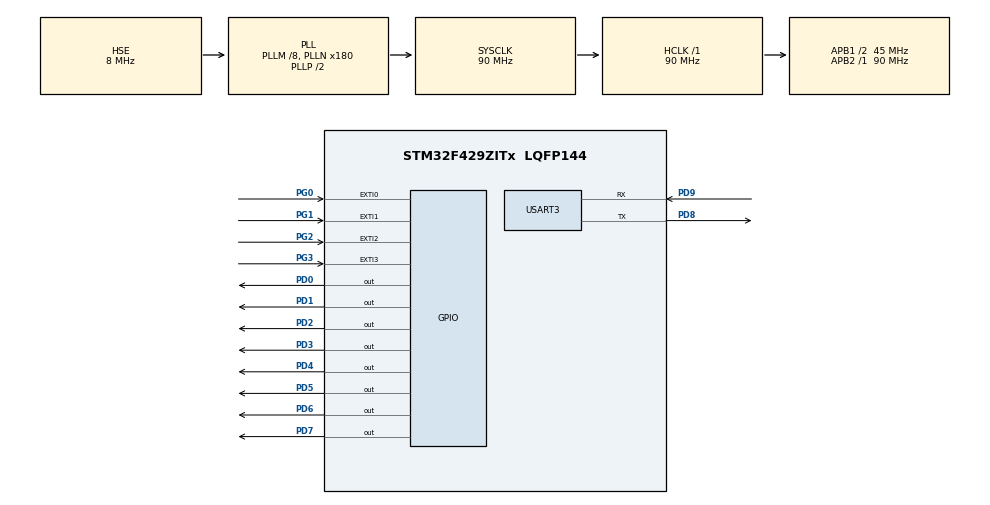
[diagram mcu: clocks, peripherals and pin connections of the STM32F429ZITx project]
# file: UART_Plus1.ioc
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Mcu.Family=STM32F4
Mcu.Name=STM32F429ZITx
Mcu.Package=LQFP144
NVIC.EXTI0_IRQn=true\:0\:0\:false\:false\:true\:true\:true\:true
NVIC.EXTI1_IRQn=true\:0\:0\:false\:false\:true\:true\:true\:true
NVIC.EXTI2_IRQn=true\:0\:0\:false\:false\:true\:true\:true\:true
NVIC.EXTI3_IRQn=true\:0\:0\:false\:false\:true\:true\:true\:true
NVIC.PriorityGroup=NVIC_PRIORITYGROUP_4
NVIC.USART3_IRQn=true\:0\:0\:false\:false\:true\:true\:true\:true
PD0.GPIO_ModeDefaultOutputPP=GPIO_MODE_OUTPUT_PP
PD0.GPIO_PuPd=GPIO_PULLUP
PD0.GPIO_Speed=GPIO_SPEED_FREQ_HIGH
PD0.PinState=GPIO_PIN_RESET
PD0.Signal=GPIO_Output
PD1.GPIO_ModeDefaultOutputPP=GPIO_MODE_OUTPUT_PP
PD1.GPIO_PuPd=GPIO_PULLUP
PD1.GPIO_Speed=GPIO_SPEED_FREQ_HIGH
PD1.PinState=GPIO_PIN_RESET
PD1.Signal=GPIO_Output
PD2.GPIO_ModeDefaultOutputPP=GPIO_MODE_OUTPUT_PP
PD2.GPIO_PuPd=GPIO_PULLUP
PD2.GPIO_Speed=GPIO_SPEED_FREQ_HIGH
PD2.PinState=GPIO_PIN_RESET
PD2.Signal=GPIO_Output
PD3.GPIO_ModeDefaultOutputPP=GPIO_MODE_OUTPUT_PP
PD3.GPIO_PuPd=GPIO_PULLUP
PD3.GPIO_Speed=GPIO_SPEED_FREQ_HIGH
PD3.PinState=GPIO_PIN_RESET
PD3.Signal=GPIO_Output
PD4.GPIO_ModeDefaultOutputPP=GPIO_MODE_OUTPUT_PP
PD4.GPIO_PuPd=GPIO_PULLUP
PD4.GPIO_Speed=GPIO_SPEED_FREQ_HIGH
PD4.PinState=GPIO_PIN_RESET
PD4.Signal=GPIO_Output
PD5.GPIO_ModeDefaultOutputPP=GPIO_MODE_OUTPUT_PP
PD5.GPIO_PuPd=GPIO_PULLUP
PD5.GPIO_Speed=GPIO_SPEED_FREQ_HIGH
PD5.PinState=GPIO_PIN_RESET
PD5.Signal=GPIO_Output
PD6.GPIO_ModeDefaultOutputPP=GPIO_MODE_OUTPUT_PP
PD6.GPIO_PuPd=GPIO_PULLUP
PD6.GPIO_Speed=GPIO_SPEED_FREQ_HIGH
PD6.PinState=GPIO_PIN_RESET
PD6.Signal=GPIO_Output
PD7.GPIO_ModeDefaultOutputPP=GPIO_MODE_OUTPUT_PP
PD7.GPIO_PuPd=GPIO_PULLUP
PD7.GPIO_Speed=GPIO_SPEED_FREQ_HIGH
PD7.PinState=GPIO_PIN_RESET
PD7.Signal=GPIO_Output
PD8.Mode=Asynchronous
PD8.Signal=USART3_TX
PD9.Mode=Asynchronous
PD9.Signal=USART3_RX
PG0.GPIO_ModeDefaultEXTI=GPIO_MODE_IT_FALLING
PG0.GPIO_PuPd=GPIO_NOPULL
PG0.Signal=GPXTI0
PG1.GPIO_ModeDefaultEXTI=GPIO_MODE_IT_FALLING
PG1.GPIO_PuPd=GPIO_NOPULL
PG1.Signal=GPXTI1
PG2.GPIO_ModeDefaultEXTI=GPIO_MODE_IT_FALLING
PG2.GPIO_PuPd=GPIO_NOPULL
PG2.Signal=GPXTI2
PG3.GPIO_ModeDefaultEXTI=GPIO_MODE_IT_FALLING
PG3.GPIO_PuPd=GPIO_NOPULL
PG3.Signal=GPXTI3
PH0/OSC_IN.Mode=HSE-External-Clock-Source
PH0/OSC_IN.Signal=RCC_OSC_IN
PH1/OSC_OUT.Mode=HSE-External-Clock-Source
PH1/OSC_OUT.Signal=RCC_OSC_OUT
ProjectManager.HeapSize=0x200
ProjectManager.StackSize=0x400
ProjectManager.TargetToolchain=STM32CubeIDE
RCC.48MHZClocksFreq_Value=45000000
RCC.AHBFreq_Value=90000000
RCC.APB1CLKDivider=RCC_HCLK_DIV2
RCC.APB1Freq_Value=45000000
RCC.APB1TimFreq_Value=90000000
RCC.APB2Freq_Value=90000000
RCC.APB2TimFreq_Value=90000000
RCC.CortexFreq_Value=90000000
RCC.HCLKFreq_Value=90000000
RCC.HSE_VALUE=8000000
RCC.HSI_VALUE=16000000
RCC.LSE_VALUE=32768
RCC.PLLM=8
RCC.PLLN=180
RCC.PLLSourceVirtual=RCC_PLLSOURCE_HSE
RCC.SYSCLKFreq_VALUE=90000000
RCC.SYSCLKSource=RCC_SYSCLKSOURCE_PLLCLK
RCC.VCOOutputFreq_Value=180000000
USART3.VirtualMode=VM_ASYNC
board=custom

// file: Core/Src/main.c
/* USER CODE BEGIN Header */
/**
  ******************************************************************************
  * @file           : main.c
  * @brief          : Main program body
  ******************************************************************************
  * @attention
  *
  * Copyright (c) 2022 STMicroelectronics.
  * All rights reserved.
  *
  * This software is licensed under terms that can be found in the LICENSE file
  * in the root directory of this software component.
  * If no LICENSE file comes with this software, it is provided AS-IS.
  *
  ******************************************************************************
  */
/* USER CODE END Header */
#include "main.h"

/* USER CODE BEGIN PD */
#define TxBufferSize	(countof(TxBuffer)-1)
#define TxBufferSize_2	(countof(TxBuffer_2)-1)
#define RxBufferSize	0XFF
#define countof(a)		(sizeof(a) / sizeof(*(a)))
/* USER CODE END PD */

UART_HandleTypeDef huart3;

/* USER CODE BEGIN PV */
uint8_t TxBuffer[] = "\n\rUART Plus Example 1 (Transmission Success !!)\n\r\n\r";
uint8_t TxBuffer_2[] = "\n\r Hello~~ \n\r";
uint8_t RxBuffer[RxBufferSize];
/* USER CODE END PV */

void SystemClock_Config(void);
static void MX_GPIO_Init(void);
static void MX_USART3_UART_Init(void);
/* USER CODE BEGIN PFP */
void LED_OnOff(int, int);
int speed = 0;
/* USER CODE END PFP */

int main(void)
{

  /* MCU Configuration--------------------------------------------------------*/

  /* Reset of all peripherals, Initializes the Flash interface and the Systick. */
  HAL_Init();

  /* Configure the system clock */
  SystemClock_Config();

  /* Initialize all configured peripherals */
  MX_GPIO_Init();
  MX_USART3_UART_Init();
  /* USER CODE BEGIN 2 */
  LED_OnOff(LED_ALL, 500);
  HAL_UART_Transmit(&huart3, (uint8_t*)TxBuffer, TxBufferSize, 0xFFFF);
  /* USER CODE END 2 */

  /* Infinite loop */
  /* USER CODE BEGIN WHILE */
  while (1)
  {
	  if(speed == 1){
		HAL_UART_Transmit(&huart3, (uint8_t*)TxBuffer_2, TxBufferSize_2, 0xFFFF);
		HAL_UART_Transmit(&huart3, (uint8_t*)TxBuffer_2, TxBufferSize_2, 0xFFFF);
		HAL_UART_Transmit(&huart3, (uint8_t*)TxBuffer_2, TxBufferSize_2, 0xFFFF);
		HAL_Delay(1000);
	  }
    /* USER CODE END WHILE */

  }
}

void SystemClock_Config(void)
{
  RCC_OscInitTypeDef RCC_OscInitStruct = {0};
  RCC_ClkInitTypeDef RCC_ClkInitStruct = {0};

  /** Configure the main internal regulator output voltage
  */
  __HAL_RCC_PWR_CLK_ENABLE();
  __HAL_PWR_VOLTAGESCALING_CONFIG(PWR_REGULATOR_VOLTAGE_SCALE3);

  /** Initializes the RCC Oscillators according to the specified parameters
  * in the RCC_OscInitTypeDef structure.
  */
  RCC_OscInitStruct.OscillatorType = RCC_OSCILLATORTYPE_HSE;
  RCC_OscInitStruct.HSEState = RCC_HSE_BYPASS;
  RCC_OscInitStruct.PLL.PLLState = RCC_PLL_ON;
  RCC_OscInitStruct.PLL.PLLSource = RCC_PLLSOURCE_HSE;
  RCC_OscInitStruct.PLL.PLLM = 8;
  RCC_OscInitStruct.PLL.PLLN = 180;
  RCC_OscInitStruct.PLL.PLLP = RCC_PLLP_DIV2;
  RCC_OscInitStruct.PLL.PLLQ = 4;
  if (HAL_RCC_OscConfig(&RCC_OscInitStruct) != HAL_OK)
  {
    Error_Handler();
  }

  /** Activate the Over-Drive mode
  */
  if (HAL_PWREx_EnableOverDrive() != HAL_OK)
  {
    Error_Handler();
  }

  /** Initializes the CPU, AHB and APB buses clocks
  */
  RCC_ClkInitStruct.ClockType = RCC_CLOCKTYPE_HCLK|RCC_CLOCKTYPE_SYSCLK
                              |RCC_CLOCKTYPE_PCLK1|RCC_CLOCKTYPE_PCLK2;
  RCC_ClkInitStruct.SYSCLKSource = RCC_SYSCLKSOURCE_PLLCLK;
  RCC_ClkInitStruct.AHBCLKDivider = RCC_SYSCLK_DIV1;
  RCC_ClkInitStruct.APB1CLKDivider = RCC_HCLK_DIV2;
  RCC_ClkInitStruct.APB2CLKDivider = RCC_HCLK_DIV1;

  if (HAL_RCC_ClockConfig(&RCC_ClkInitStruct, FLASH_LATENCY_2) != HAL_OK)
  {
    Error_Handler();
  }
}

static void MX_USART3_UART_Init(void)
{

  huart3.Instance = USART3;
  huart3.Init.BaudRate = 115200;
  huart3.Init.WordLength = UART_WORDLENGTH_8B;
  huart3.Init.StopBits = UART_STOPBITS_1;
  huart3.Init.Parity = UART_PARITY_NONE;
  huart3.Init.Mode = UART_MODE_TX_RX;
  huart3.Init.HwFlowCtl = UART_HWCONTROL_NONE;
  huart3.Init.OverSampling = UART_OVERSAMPLING_16;
  if (HAL_UART_Init(&huart3) != HAL_OK)
  {
    Error_Handler();
  }

}

static void MX_GPIO_Init(void)
{
  GPIO_InitTypeDef GPIO_InitStruct = {0};

  /* GPIO Ports Clock Enable */
  __HAL_RCC_GPIOH_CLK_ENABLE();
  __HAL_RCC_GPIOG_CLK_ENABLE();
  __HAL_RCC_GPIOD_CLK_ENABLE();

  /*Configure GPIO pin Output Level */
  HAL_GPIO_WritePin(GPIOD, GPIO_PIN_0|GPIO_PIN_1|GPIO_PIN_2|GPIO_PIN_3
                          |GPIO_PIN_4|GPIO_PIN_5|GPIO_PIN_6|GPIO_PIN_7, GPIO_PIN_RESET);

  /*Configure GPIO pins : PG0 PG1 PG2 PG3 */
  GPIO_InitStruct.Pin = GPIO_PIN_0|GPIO_PIN_1|GPIO_PIN_2|GPIO_PIN_3;
  GPIO_InitStruct.Mode = GPIO_MODE_IT_FALLING;
  GPIO_InitStruct.Pull = GPIO_NOPULL;
  HAL_GPIO_Init(GPIOG, &GPIO_InitStruct);

  /*Configure GPIO pins : PD0 PD1 PD2 PD3
                           PD4 PD5 PD6 PD7 */
  GPIO_InitStruct.Pin = GPIO_PIN_0|GPIO_PIN_1|GPIO_PIN_2|GPIO_PIN_3
                          |GPIO_PIN_4|GPIO_PIN_5|GPIO_PIN_6|GPIO_PIN_7;
  GPIO_InitStruct.Mode = GPIO_MODE_OUTPUT_PP;
  GPIO_InitStruct.Pull = GPIO_PULLUP;
  GPIO_InitStruct.Speed = GPIO_SPEED_FREQ_HIGH;
  HAL_GPIO_Init(GPIOD, &GPIO_InitStruct);

  /* EXTI interrupt init*/
  HAL_NVIC_SetPriority(EXTI0_IRQn, 0, 0);
  HAL_NVIC_EnableIRQ(EXTI0_IRQn);

  HAL_NVIC_SetPriority(EXTI1_IRQn, 0, 0);
  HAL_NVIC_EnableIRQ(EXTI1_IRQn);

  HAL_NVIC_SetPriority(EXTI2_IRQn, 0, 0);
  HAL_NVIC_EnableIRQ(EXTI2_IRQn);

  HAL_NVIC_SetPriority(EXTI3_IRQn, 0, 0);
  HAL_NVIC_EnableIRQ(EXTI3_IRQn);

}

/* USER CODE BEGIN 4 */
void LED_OnOff(int led, int interval)
{
	HAL_GPIO_WritePin(GPIO_LED, led, GPIO_PIN_SET);
	HAL_GPIO_WritePin(GPIO_LED_Nucleo, led, GPIO_PIN_SET);

	HAL_Delay(interval);

	HAL_GPIO_WritePin(GPIO_LED, led, GPIO_PIN_RESET);
	HAL_GPIO_WritePin(GPIO_LED_Nucleo, led, GPIO_PIN_RESET);
}
void HAL_GPIO_EXTI_Callback(uint16_t GPIO_Pin)
{
	switch(GPIO_Pin)
	{
		case GPIO_PIN_0:
			speed = 1;
	}
}
/* USER CODE END 4 */

void Error_Handler(void)
{
  __disable_irq();
  while (1)
  {
  }
}
